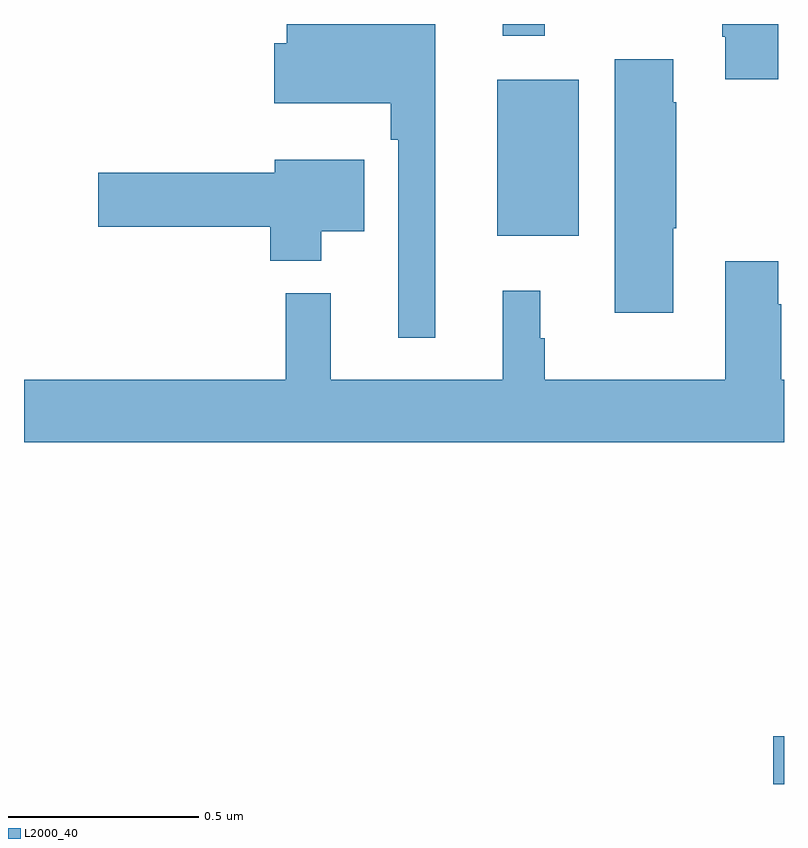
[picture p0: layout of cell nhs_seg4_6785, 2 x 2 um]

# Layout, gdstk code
import gdstk
lib = gdstk.Library(unit=1e-6, precision=1e-09)
def R(c, l, rs):  # rectangles x0, y0, x1, y1
    for r in rs: c.add(gdstk.rectangle(r[:2], r[2:], *l))
def P(c, l, *ps):  # polygons
    for p in ps: c.add(gdstk.Polygon(p, *l))
L2000_40 = (2000, 40)

nhs_seg4_6785 = lib.new_cell('nhs_seg4_6785')
R(nhs_seg4_6785, L2000_40, [(195.972,815.9,196,816.026), (195.245,817.343,195.46,817.753), (195.26,817.869,195.37,817.9)])
P(nhs_seg4_6785, L2000_40, [(195.985,817.9),(195.838,817.9),(195.838,817.867),(195.845,817.867),(195.845,817.755),(195.985,817.755)],
  [(195.082,817.9),(194.692,817.9),(194.692,817.849),(194.658,817.849),(194.658,817.691),(194.965,817.691),(194.965,817.595),(194.985,817.595),(194.985,817.074),(195.082,817.074)],
  [(195.709,817.363),(195.717,817.363),(195.717,817.694),(195.709,817.694),(195.709,817.807),(195.554,817.807),(195.554,817.14),(195.709,817.14)],
  [(194.782,817.355),(194.896,817.355),(194.896,817.543),(194.66,817.543),(194.66,817.508),(194.196,817.508),(194.196,817.366),(194.648,817.366),(194.648,817.277),(194.782,817.277)],
  [(196,816.964),(195.993,816.964),(195.993,817.163),(195.985,817.163),(195.985,817.276),(195.845,817.276),(195.845,816.964),(195.37,816.964),(195.37,817.073),(195.359,817.073),(195.359,817.198),(195.26,817.198),(195.26,816.964),(194.807,816.964),(194.807,817.192),(194.689,817.192),(194.689,816.964),(194,816.964),(194,816.8),(196,816.8)])

lib.write_gds('nhs_seg4_6785.gds')
